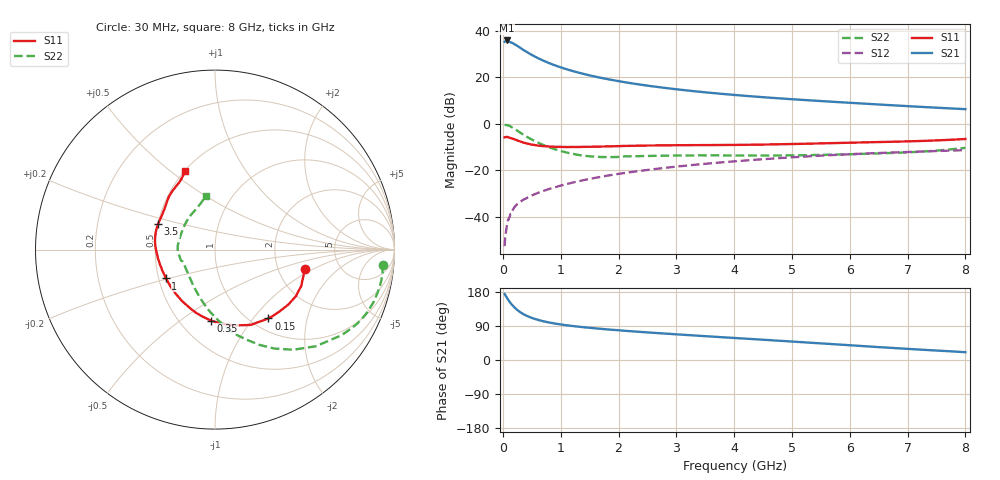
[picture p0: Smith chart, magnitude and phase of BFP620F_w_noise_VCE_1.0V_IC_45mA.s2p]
! Infineon Technologies  Discrete & RF Semiconductors
! BFP620F
! VCE =  1.0 V,  IC =  45 mA
! Common Emitter S-Parameters:  Dec 2014
# GHz  S  MA  R  50
!  f  S11  S21  S12  S22
! GHz  MAG  ANG  MAG  ANG  MAG  ANG  MAG  ANG
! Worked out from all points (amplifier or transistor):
!   95 points, 30 MHz to 8 GHz, reference 50 ohm
!   highest |S21| = 35.9 dB at 70 MHz (marker M1)
!   |S21| within 3 dB of that: start of sweep to 290.7 MHz
!   unconditionally stable (mu >= 1): 1.979 GHz to end of sweep
!   at 300 MHz: K = 0.47, MSG = 33.2 dB, |S12| = -33.7 dB
!   at 3.3 GHz: K = 1.03, MAG = 14.9 dB, |S12| = -17.7 dB
!   at 8 GHz: K = 1.05, MAG = 7.4 dB, |S12| = -11.4 dB
!   lowest NFmin = 1.45 dB at 450 MHz
!   S11 on the Smith chart (normalised r, x): 30 MHz: 2.81, -0.84; 150 MHz: 1.19, -1.20; 350 MHz: 0.70, -0.66; 1 GHz: 0.55, -0.19; 3.5 GHz: 0.50, +0.16; 8 GHz: 0.50, +0.56
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0.03  0.5112 -12.5  58.6 174.1  0.0023 92.0  0.9377 -5.2
0.05  0.5172 -20.1  61.38 169.3  0.0044 70.1  0.9425 -10.5
0.07  0.5195 -26.4  62.51 164.2  0.0065 77.8  0.9357 -15.5
0.1  0.5105 -36.9  59.99 157.1  0.0086 82.5  0.9148 -23.0
0.12  0.498 -43.9  57.8 152.9  0.01 77.1  0.8923 -27.7
0.15  0.4857 -52.2  56.38 147.1  0.0126 73.6  0.8502 -34.2
0.2  0.4642 -64.7  52.09 138.7  0.016 69.3  0.7781 -43.8
0.25  0.4371 -75.1  47.75 131.9  0.0186 66.8  0.7087 -51.9
0.3  0.416 -84.4  43.49 126.3  0.0206 66.4  0.6443 -58.9
0.35  0.3965 -93.1  39.45 121.5  0.023 65.0  0.5866 -64.9
0.45  0.3678 -106.6  33.17 114.1  0.0268 64.2  0.495 -75.1
0.6  0.3402 -122.9  26.24 106.2  0.0322 63.9  0.3952 -87.3
0.8  0.324 -138.3  20.3 99.0  0.0392 64.4  0.3117 -100.8
1  0.3174 -149.6  16.45 93.8  0.0465 64.6  0.2592 -112.8
1.4  0.3182 -165.4  11.85 86.4  0.0611 64.6  0.2052 -135.1
1.9  0.3273 -178.7  8.738 79.6  0.0793 63.1  0.1915 -157.3
2.7  0.342 166.8  6.156 70.8  0.1083 59.2  0.204 -174.2
3.5  0.3476 155.6  4.768 62.9  0.1369 54.4  0.2082 175.7
4.1  0.3513 148.2  4.09 57.2  0.158 50.5  0.2068 168.3
5.4  0.3754 136.0  3.146 44.8  0.2023 40.8  0.2124 147.4
6.7  0.4087 123.7  2.52 32.2  0.2391 30.4  0.2345 125.3
8  0.4702 111.0  2.066 20.6  0.2697 20.5  0.3026 99.8
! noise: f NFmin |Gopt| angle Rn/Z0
0.45  1.45  0.18  -172  0.16
0.9  1.48  0.18  -172  0.14
1.5  1.49  0.23  -153  0.1
1.8  1.5  0.23  -152  0.1
1.9  1.5  0.23  -151  0.11
2.4  1.52  0.24  213  0.12
3.5  1.58  0.24  220  0.15
5.5  1.72  0.29  248  0.19
6  1.76  0.29  261  0.24
